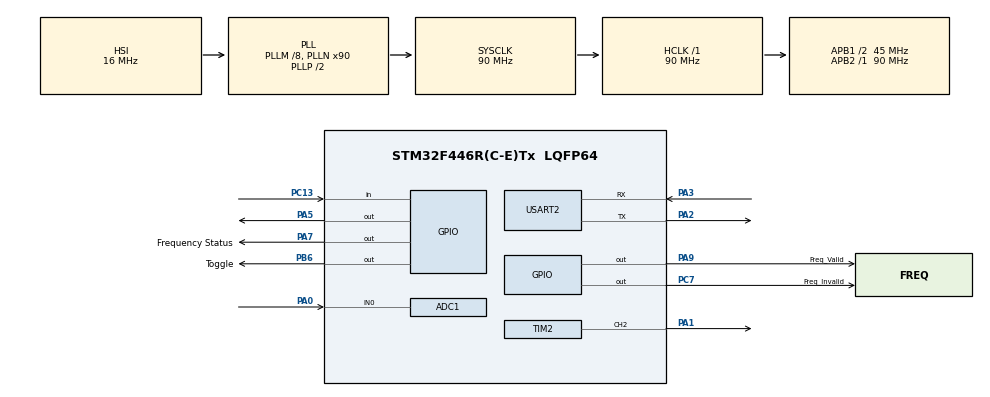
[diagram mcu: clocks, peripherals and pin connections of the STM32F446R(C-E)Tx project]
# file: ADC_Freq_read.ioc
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ADC1.Channel-0\#ChannelRegularConversion=ADC_CHANNEL_0
ADC1.NbrOfConversionFlag=1
ADC1.Rank-0\#ChannelRegularConversion=1
ADC1.Resolution=ADC_RESOLUTION_12B
ADC1.SamplingTime-0\#ChannelRegularConversion=ADC_SAMPLETIME_28CYCLES
ADC1.master=1
Mcu.Family=STM32F4
Mcu.Name=STM32F446R(C-E)Tx
Mcu.Package=LQFP64
NVIC.ADC_IRQn=true\:0\:0\:false\:false\:true\:true\:true
NVIC.PriorityGroup=NVIC_PRIORITYGROUP_0
NVIC.TIM2_IRQn=true\:0\:0\:false\:false\:true\:true\:true
PA0-WKUP.Signal=ADCx_IN0
PA1.Signal=S_TIM2_CH2
PA2.Mode=Asynchronous
PA2.Signal=USART2_TX
PA3.Mode=Asynchronous
PA3.Signal=USART2_RX
PA5.Signal=GPIO_Output
PA7.GPIO_Label=Frequency Status
PA7.Signal=GPIO_Output
PA9.GPIO_Label=Freq_Valid
PA9.Signal=GPIO_Output
PB6.GPIO_Label=Toggle
PB6.Signal=GPIO_Output
PC13.Signal=GPIO_Input
PC14-OSC32_IN.Mode=LSE-External-Oscillator
PC14-OSC32_IN.Signal=RCC_OSC32_IN
PC15-OSC32_OUT.Mode=LSE-External-Oscillator
PC15-OSC32_OUT.Signal=RCC_OSC32_OUT
PC7.GPIO_Label=Freq_Invalid
PC7.Signal=GPIO_Output
PH0-OSC_IN.Mode=HSE-External-Oscillator
PH0-OSC_IN.Signal=RCC_OSC_IN
PH1-OSC_OUT.Mode=HSE-External-Oscillator
PH1-OSC_OUT.Signal=RCC_OSC_OUT
ProjectManager.HeapSize=0x200
ProjectManager.StackSize=0x400
ProjectManager.TargetToolchain=STM32CubeIDE
RCC.48MHZClocksFreq_Value=84000000
RCC.AHBFreq_Value=90000000
RCC.APB1CLKDivider=RCC_HCLK_DIV2
RCC.APB1Freq_Value=45000000
RCC.APB1TimFreq_Value=90000000
RCC.APB2Freq_Value=90000000
RCC.APB2TimFreq_Value=90000000
RCC.CortexFreq_Value=90000000
RCC.FLatency-AdvancedSettings=FLASH_LATENCY_2
RCC.HCLKFreq_Value=90000000
RCC.HSE_VALUE=8000000
RCC.HSI_VALUE=16000000
RCC.PLLM=8
RCC.PLLN=90
RCC.SYSCLKFreq_VALUE=90000000
RCC.SYSCLKSource=RCC_SYSCLKSOURCE_PLLCLK
RCC.USBFreq_Value=90000000
RCC.VCOOutputFreq_Value=180000000
SH.ADCx_IN0.0=ADC1_IN0,IN0
SH.S_TIM2_CH2.0=TIM2_CH2,Output Compare2 CH2
TIM2.AutoReloadPreload=TIM_AUTORELOAD_PRELOAD_ENABLE
TIM2.Channel-Output\ Compare2\ CH2=TIM_CHANNEL_2
TIM2.Prescaler=90-1
USART2.VirtualMode=VM_ASYNC
board=NUCLEO-F446RE

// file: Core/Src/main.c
/* USER CODE BEGIN Header */
/**
  ******************************************************************************
  * @file           : main.c
  * @brief          : Main program body
  ******************************************************************************
  * @attention
  *
  * <h2><center>&copy; Copyright (c) 2020 STMicroelectronics.
  * All rights reserved.</center></h2>
  *
  * This software component is licensed by ST under BSD 3-Clause license,
  * the "License"; You may not use this file except in compliance with the
  * License. You may obtain a copy of the License at:
  *                        opensource.org/licenses/BSD-3-Clause
  *
  ******************************************************************************
  */
/* USER CODE END Header */
#include "main.h"
#include "stdbool.h"

/* USER CODE BEGIN Includes */
#include "math.h"
/* USER CODE END Includes */

ADC_HandleTypeDef hadc1;

TIM_HandleTypeDef htim2;

UART_HandleTypeDef huart2;

void SystemClock_Config(void);
static void MX_GPIO_Init(void);
static void MX_ADC1_Init(void);
static void MX_USART2_UART_Init(void);
static void MX_TIM2_Init(void);
/* USER CODE BEGIN PFP */
char uartData[3000];
/* USER CODE END PFP */

/* USER CODE BEGIN 0 */
int asin_lut[4096];
void gen_asin(){
    for(int i = 0;i<4096;i++){
        double phase = asin((i-2048.0)/2048.0);
        asin_lut[i] = phase*1000000;
    }
}
/* USER CODE END 0 */

int main(void)
{

  /* MCU Configuration--------------------------------------------------------*/

  /* Reset of all peripherals, Initializes the Flash interface and the Systick. */
  HAL_Init();

  /* Configure the system clock */
  SystemClock_Config();

  /* Initialize all configured peripherals */
  MX_GPIO_Init();
  MX_ADC1_Init();
  MX_USART2_UART_Init();
  MX_TIM2_Init();
  /* USER CODE BEGIN 2 */
  HAL_TIM_OC_Start_IT(&htim2, TIM_CHANNEL_2);
  __HAL_TIM_SET_COMPARE(&htim2, TIM_CHANNEL_2,10);
	 sprintf(uartData,"Starting...\n");
	  HAL_UART_Transmit(&huart2, uartData, strlen(uartData), 10);
	  gen_asin();
  /* USER CODE END 2 */

  /* Infinite loop */
  while (1)
  {

    /* USER CODE BEGIN 3 */

//	HAL_Delay(50);
  }
  /* USER CODE END 3 */
}

void SystemClock_Config(void)
{
  RCC_OscInitTypeDef RCC_OscInitStruct = {0};
  RCC_ClkInitTypeDef RCC_ClkInitStruct = {0};

  /** Configure the main internal regulator output voltage
  */
  __HAL_RCC_PWR_CLK_ENABLE();
  __HAL_PWR_VOLTAGESCALING_CONFIG(PWR_REGULATOR_VOLTAGE_SCALE3);
  /** Initializes the RCC Oscillators according to the specified parameters
  * in the RCC_OscInitTypeDef structure.
  */
  RCC_OscInitStruct.OscillatorType = RCC_OSCILLATORTYPE_HSI;
  RCC_OscInitStruct.HSIState = RCC_HSI_ON;
  RCC_OscInitStruct.HSICalibrationValue = RCC_HSICALIBRATION_DEFAULT;
  RCC_OscInitStruct.PLL.PLLState = RCC_PLL_ON;
  RCC_OscInitStruct.PLL.PLLSource = RCC_PLLSOURCE_HSI;
  RCC_OscInitStruct.PLL.PLLM = 8;
  RCC_OscInitStruct.PLL.PLLN = 90;
  RCC_OscInitStruct.PLL.PLLP = RCC_PLLP_DIV2;
  RCC_OscInitStruct.PLL.PLLQ = 2;
  RCC_OscInitStruct.PLL.PLLR = 2;
  if (HAL_RCC_OscConfig(&RCC_OscInitStruct) != HAL_OK)
  {
    Error_Handler();
  }
  /** Initializes the CPU, AHB and APB buses clocks
  */
  RCC_ClkInitStruct.ClockType = RCC_CLOCKTYPE_HCLK|RCC_CLOCKTYPE_SYSCLK
                              |RCC_CLOCKTYPE_PCLK1|RCC_CLOCKTYPE_PCLK2;
  RCC_ClkInitStruct.SYSCLKSource = RCC_SYSCLKSOURCE_PLLCLK;
  RCC_ClkInitStruct.AHBCLKDivider = RCC_SYSCLK_DIV1;
  RCC_ClkInitStruct.APB1CLKDivider = RCC_HCLK_DIV2;
  RCC_ClkInitStruct.APB2CLKDivider = RCC_HCLK_DIV1;

  if (HAL_RCC_ClockConfig(&RCC_ClkInitStruct, FLASH_LATENCY_2) != HAL_OK)
  {
    Error_Handler();
  }
}

static void MX_ADC1_Init(void)
{

  ADC_ChannelConfTypeDef sConfig = {0};

  /** Configure the global features of the ADC (Clock, Resolution, Data Alignment and number of conversion)
  */
  hadc1.Instance = ADC1;
  hadc1.Init.ClockPrescaler = ADC_CLOCK_SYNC_PCLK_DIV4;
  hadc1.Init.Resolution = ADC_RESOLUTION_12B;
  hadc1.Init.ScanConvMode = DISABLE;
  hadc1.Init.ContinuousConvMode = DISABLE;
  hadc1.Init.DiscontinuousConvMode = DISABLE;
  hadc1.Init.ExternalTrigConvEdge = ADC_EXTERNALTRIGCONVEDGE_NONE;
  hadc1.Init.ExternalTrigConv = ADC_SOFTWARE_START;
  hadc1.Init.DataAlign = ADC_DATAALIGN_RIGHT;
  hadc1.Init.NbrOfConversion = 1;
  hadc1.Init.DMAContinuousRequests = DISABLE;
  hadc1.Init.EOCSelection = ADC_EOC_SINGLE_CONV;
  if (HAL_ADC_Init(&hadc1) != HAL_OK)
  {
    Error_Handler();
  }
  /** Configure for the selected ADC regular channel its corresponding rank in the sequencer and its sample time.
  */
  sConfig.Channel = ADC_CHANNEL_0;
  sConfig.Rank = 1;
  sConfig.SamplingTime = ADC_SAMPLETIME_28CYCLES;
  if (HAL_ADC_ConfigChannel(&hadc1, &sConfig) != HAL_OK)
  {
    Error_Handler();
  }

}

static void MX_TIM2_Init(void)
{

  TIM_MasterConfigTypeDef sMasterConfig = {0};
  TIM_OC_InitTypeDef sConfigOC = {0};

  htim2.Instance = TIM2;
  htim2.Init.Prescaler = 90-1;
  htim2.Init.CounterMode = TIM_COUNTERMODE_UP;
  htim2.Init.Period = 4294967295;
  htim2.Init.ClockDivision = TIM_CLOCKDIVISION_DIV1;
  htim2.Init.AutoReloadPreload = TIM_AUTORELOAD_PRELOAD_ENABLE;
  if (HAL_TIM_OC_Init(&htim2) != HAL_OK)
  {
    Error_Handler();
  }
  sMasterConfig.MasterOutputTrigger = TIM_TRGO_RESET;
  sMasterConfig.MasterSlaveMode = TIM_MASTERSLAVEMODE_DISABLE;
  if (HAL_TIMEx_MasterConfigSynchronization(&htim2, &sMasterConfig) != HAL_OK)
  {
    Error_Handler();
  }
  sConfigOC.OCMode = TIM_OCMODE_TIMING;
  sConfigOC.Pulse = 0;
  sConfigOC.OCPolarity = TIM_OCPOLARITY_HIGH;
  sConfigOC.OCFastMode = TIM_OCFAST_DISABLE;
  if (HAL_TIM_OC_ConfigChannel(&htim2, &sConfigOC, TIM_CHANNEL_2) != HAL_OK)
  {
    Error_Handler();
  }
  HAL_TIM_MspPostInit(&htim2);

}

static void MX_USART2_UART_Init(void)
{

  huart2.Instance = USART2;
  huart2.Init.BaudRate = 115200;
  huart2.Init.WordLength = UART_WORDLENGTH_8B;
  huart2.Init.StopBits = UART_STOPBITS_1;
  huart2.Init.Parity = UART_PARITY_NONE;
  huart2.Init.Mode = UART_MODE_TX_RX;
  huart2.Init.HwFlowCtl = UART_HWCONTROL_NONE;
  huart2.Init.OverSampling = UART_OVERSAMPLING_16;
  if (HAL_UART_Init(&huart2) != HAL_OK)
  {
    Error_Handler();
  }

}

static void MX_GPIO_Init(void)
{
  GPIO_InitTypeDef GPIO_InitStruct = {0};

  /* GPIO Ports Clock Enable */
  __HAL_RCC_GPIOC_CLK_ENABLE();
  __HAL_RCC_GPIOH_CLK_ENABLE();
  __HAL_RCC_GPIOA_CLK_ENABLE();
  __HAL_RCC_GPIOB_CLK_ENABLE();

  /*Configure GPIO pin Output Level */
  HAL_GPIO_WritePin(GPIOA, GPIO_PIN_5|Frequency_Status_Pin|Freq_Valid_Pin, GPIO_PIN_RESET);

  /*Configure GPIO pin Output Level */
  HAL_GPIO_WritePin(Freq_Invalid_GPIO_Port, Freq_Invalid_Pin, GPIO_PIN_RESET);

  /*Configure GPIO pin Output Level */
  HAL_GPIO_WritePin(Toggle_GPIO_Port, Toggle_Pin, GPIO_PIN_RESET);

  /*Configure GPIO pin : PC13 */
  GPIO_InitStruct.Pin = GPIO_PIN_13;
  GPIO_InitStruct.Mode = GPIO_MODE_INPUT;
  GPIO_InitStruct.Pull = GPIO_NOPULL;
  HAL_GPIO_Init(GPIOC, &GPIO_InitStruct);

  /*Configure GPIO pins : PA5 Frequency_Status_Pin Freq_Valid_Pin */
  GPIO_InitStruct.Pin = GPIO_PIN_5|Frequency_Status_Pin|Freq_Valid_Pin;
  GPIO_InitStruct.Mode = GPIO_MODE_OUTPUT_PP;
  GPIO_InitStruct.Pull = GPIO_NOPULL;
  GPIO_InitStruct.Speed = GPIO_SPEED_FREQ_LOW;
  HAL_GPIO_Init(GPIOA, &GPIO_InitStruct);

  /*Configure GPIO pin : Freq_Invalid_Pin */
  GPIO_InitStruct.Pin = Freq_Invalid_Pin;
  GPIO_InitStruct.Mode = GPIO_MODE_OUTPUT_PP;
  GPIO_InitStruct.Pull = GPIO_NOPULL;
  GPIO_InitStruct.Speed = GPIO_SPEED_FREQ_LOW;
  HAL_GPIO_Init(Freq_Invalid_GPIO_Port, &GPIO_InitStruct);

  /*Configure GPIO pin : Toggle_Pin */
  GPIO_InitStruct.Pin = Toggle_Pin;
  GPIO_InitStruct.Mode = GPIO_MODE_OUTPUT_PP;
  GPIO_InitStruct.Pull = GPIO_NOPULL;
  GPIO_InitStruct.Speed = GPIO_SPEED_FREQ_LOW;
  HAL_GPIO_Init(Toggle_GPIO_Port, &GPIO_InitStruct);

}

/* USER CODE BEGIN 4 */
#define PI 				3.14159265
const int SAMP_COUNT = 15;
const int freq_deviation = 2382;

double phase_curr,phase_prev;
int freq_rad;
double x1,x2;

int curr_time,prev_time,diff_time;
int freq;
float buffer[1024];
int count = 0;
int adc_val;

const int max_invalid = 3;
const int min_valid = 2;
int valid_freq_low_count = 0;
int valid_freq_high_count = 0;
int invalid_freq_count = 0;
bool freq_state = false;		//Interpreted freq
bool invalid_freq = false;
void TIM_OC_Callback(){

	//Log Values
	prev_time = curr_time;
	phase_prev = phase_curr;

	//Get ADC Val
	HAL_ADC_Start(&hadc1);
	HAL_ADC_PollForConversion(&hadc1,5);
	int adcval = HAL_ADC_GetValue(&hadc1);
	adc_val = adcval;
	HAL_GPIO_TogglePin(GPIOB,Toggle_Pin);
	//Capture time
	curr_time = htim2.Instance->CNT;

	//Calculate freq
	phase_curr = asin_lut[adcval];
	freq_rad = (phase_curr-phase_prev)/(curr_time-prev_time);

	HAL_GPIO_WritePin(GPIOA,Freq_Valid_Pin,0);
	HAL_GPIO_WritePin(GPIOC,Freq_Invalid_Pin,0);

	//+ Low frequency
	if(7539-freq_deviation <freq_rad && freq_rad < 7539+freq_deviation ){
		HAL_GPIO_WritePin(GPIOA,GPIO_PIN_5,1);
		HAL_GPIO_WritePin(GPIOA,Freq_Valid_Pin,0);

		//Reset invalid
		invalid_freq_count = 0;

		//Inc number of low frequencies
		valid_freq_low_count++;
		//Got enough valid frequencies to probably call this a low
		if(valid_freq_low_count>=min_valid){
			//Reset high count
			valid_freq_high_count = 0;

			//Set frequency status
			freq_state = false;
			invalid_freq = false;
		}
	}
	//- Low frequency
	else if(-7539-freq_deviation <freq_rad && freq_rad < -7539+freq_deviation ){
		HAL_GPIO_WritePin(GPIOA,GPIO_PIN_5,1);
		HAL_GPIO_WritePin(GPIOA,Freq_Valid_Pin,0);

		//Reset invalid
		invalid_freq_count = 0;

		//Inc number of low frequencies
		valid_freq_low_count++;
		//Got enough valid frequencies to probably call this a low
		if(valid_freq_low_count>=min_valid){
			//Reset high count
			valid_freq_high_count = 0;

			//Set frequency status
			freq_state = false;
			invalid_freq = false;
		}
	}
	//+ High frequency
	else if(13823-freq_deviation <freq_rad && freq_rad < 13823+freq_deviation ){
		HAL_GPIO_WritePin(GPIOA,GPIO_PIN_5,1);
		HAL_GPIO_WritePin(GPIOA,Freq_Valid_Pin,1);

		//Reset invalid
		invalid_freq_count = 0;

		//Inc number of low frequencies
		valid_freq_high_count++;
		//Got enough valid frequencies to probably call this a low
		if(valid_freq_high_count>=min_valid){
			//Reset low count
			valid_freq_low_count = 0;

			//Set frequency status
			freq_state = true;
			invalid_freq = false;
		}
	}
	//- High frequency
	else if(-13823-freq_deviation <freq_rad && freq_rad < -13823+freq_deviation ){
		HAL_GPIO_WritePin(GPIOA,GPIO_PIN_5,1);
		HAL_GPIO_WritePin(GPIOA,Freq_Valid_Pin,1);

		//Reset invalid
		invalid_freq_count = 0;

		//Inc number of low frequencies
		valid_freq_high_count++;
		//Got enough valid frequencies to probably call this a low
		if(valid_freq_high_count>=min_valid){
			//Reset low count
			valid_freq_low_count = 0;

			//Set frequency status
			freq_state = true;
			invalid_freq = false;
		}
	}
	//Invalid frequencies
	else {
		HAL_GPIO_WritePin(GPIOA,GPIO_PIN_5,0);
		HAL_GPIO_WritePin(GPIOC,Freq_Invalid_Pin,1);

		invalid_freq_count++;
		if(invalid_freq_count>=max_invalid){
			invalid_freq = true;
			valid_freq_high_count = 0;
			valid_freq_low_count = 0;
		}
	}

	//Should look like binary
	HAL_GPIO_WritePin(GPIOA,Frequency_Status_Pin,freq_state);

	uint32_t next_sampl = curr_time + SAMP_COUNT;
	__HAL_TIM_SET_COMPARE(&htim2, TIM_CHANNEL_2,next_sampl);
}
void HAL_TIM_OC_DelayElapsedCallback(TIM_HandleTypeDef *htim)
{
	if (htim->Instance == TIM2 && htim->Channel == HAL_TIM_ACTIVE_CHANNEL_2)
	{
		TIM_OC_Callback();
	}
	return;
}
/* USER CODE END 4 */

void Error_Handler(void)
{
}

/************************ (C) COPYRIGHT STMicroelectronics *****END OF FILE****/
